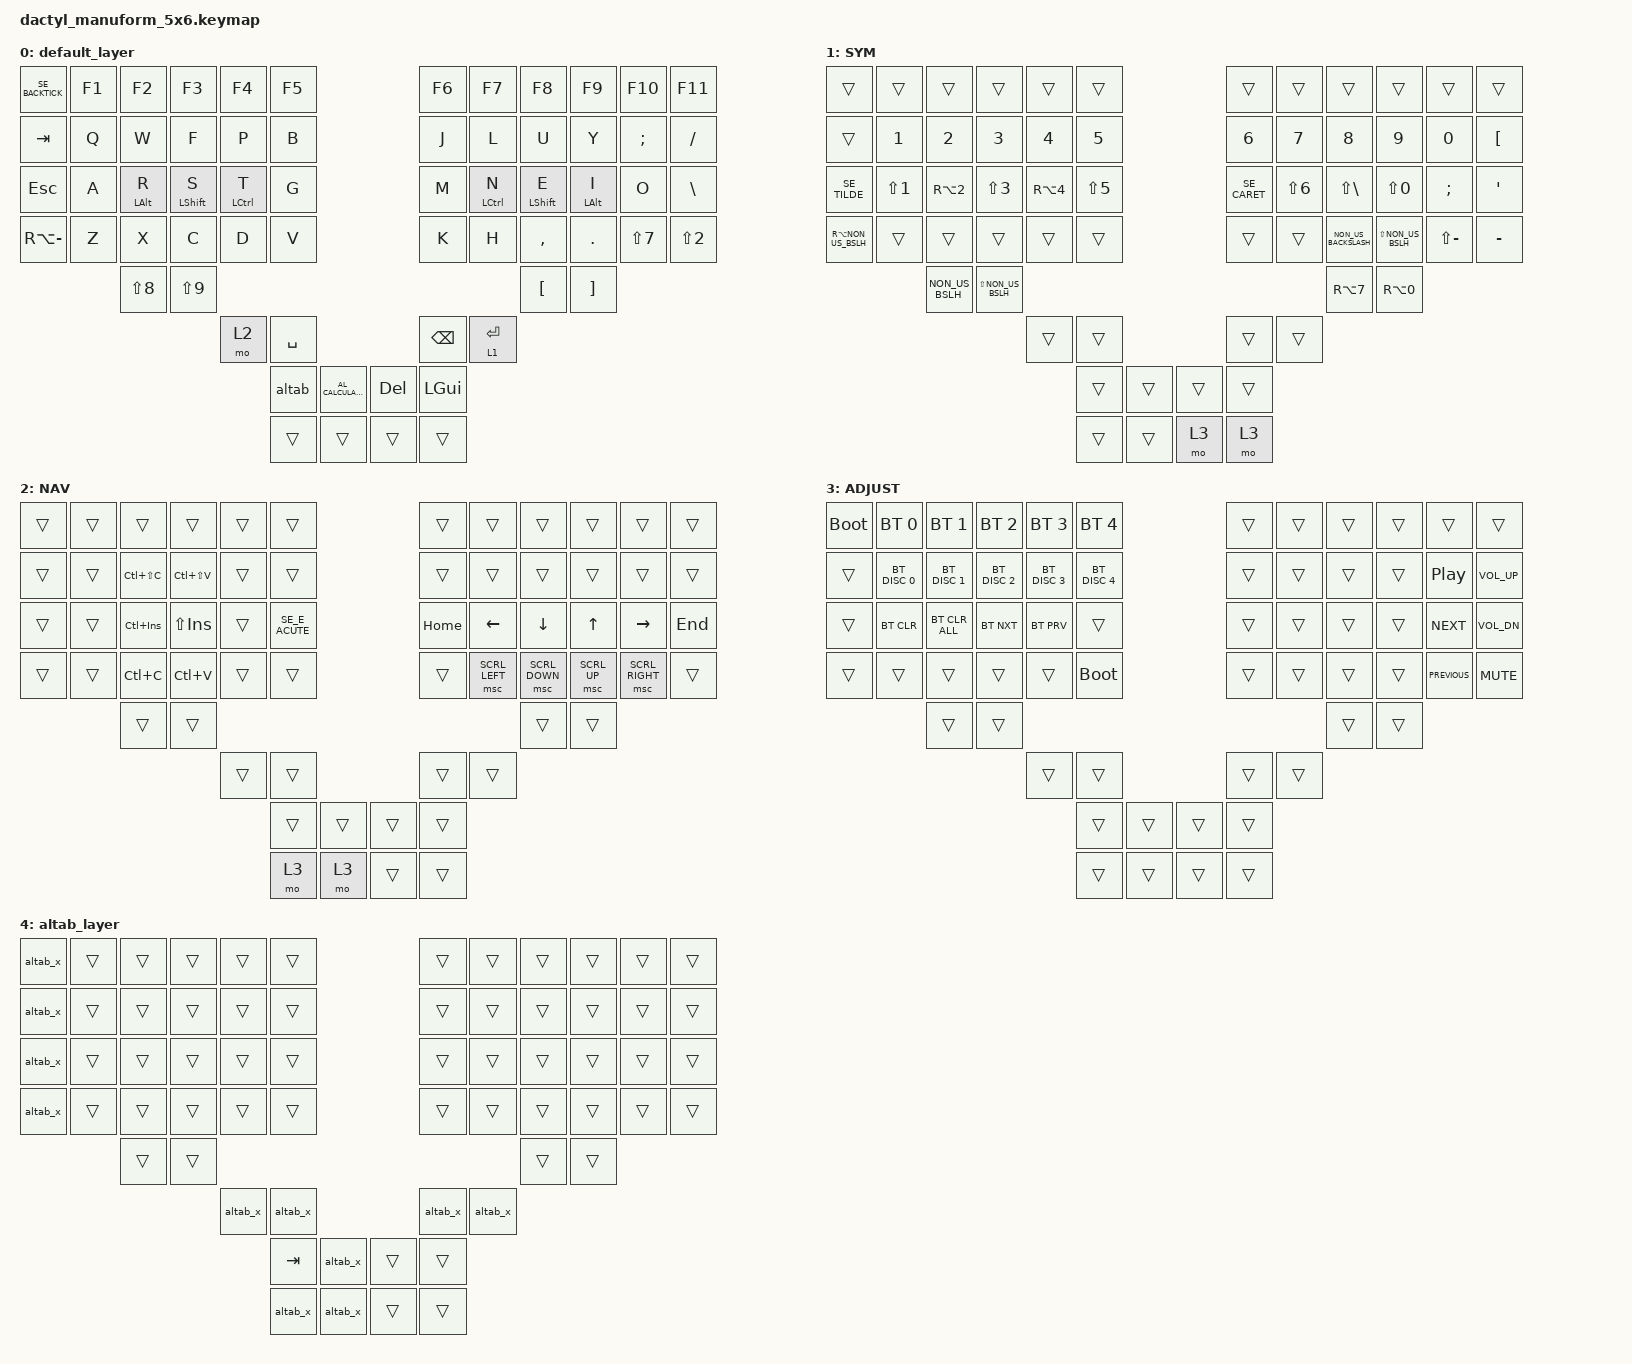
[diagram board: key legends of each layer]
// https://zmk.dev/docs/keymaps/behaviors/mouse-emulation#mouse-emulation-defines

#define ZMK_POINTING_DEFAULT_MOVE_VAL 1500  // default: 600
#define ZMK_POINTING_DEFAULT_SCRL_VAL 20    // default: 10

#include <behaviors.dtsi>
#include <dt-bindings/zmk/bt.h>
#include <dt-bindings/zmk/keys.h>
#include <dt-bindings/zmk/pointing.h>

#define DEFAULT 0
#define LWR 1
#define RSE 2
#define ADJ 3
#define ALTAB  4

/ {
    behaviors {
        hml: home_row_mod_left {
            compatible = "zmk,behavior-hold-tap";
            #binding-cells = <2>;
            flavor = "tap-preferred";
            tapping-term-ms = <150>;
            quick-tap-ms = <200>;
            bindings = <&kp>, <&kp>;

            hold-trigger-key-positions = <31 32 33 34>; // List of keys on the right side of the keyboard
        };

        hmr: home_row_mod_right {
            compatible = "zmk,behavior-hold-tap";
            #binding-cells = <2>;
            flavor = "tap-preferred";
            tapping-term-ms = <150>;
            quick-tap-ms = <200>;
            bindings = <&kp>, <&kp>;

            hold-trigger-key-positions = <26 27 28 25>; // List of keys on the left side of the keyboard
        };

        altab: alt_tab_enter {
            label = "alt_tab_enter";
            compatible = "zmk,behavior-macro";
            #binding-cells = <0>;
            wait-ms = <10>;
            tap-ms = <20>;
            bindings =
                <&macro_press>,
                <&kp LCTRL>,
                <&macro_tap>,
                <&kp TAB &to 0>;
        };

        altab_x: alt_tab_leave {
            label = "alt_tab_leave";
            compatible = "zmk,behavior-macro";
            #binding-cells = <0>;
            wait-ms = <10>;
            tap-ms = <20>;
            bindings = <&macro_release>, <&kp LCTRL>, <&macro_tap>, <&to 0>;
        };

        SE_CARET: SE_CARET {
            compatible = "zmk,behavior-macro";
            #binding-cells = <0>;
            bindings = <&kp LS(RIGHT_BRACKET) &kp SPACE>;
            label = "SE_CARET";
        };

        SE_TILDE: SE_TILDE {
            compatible = "zmk,behavior-macro";
            #binding-cells = <0>;
            bindings = <&kp RA(RIGHT_BRACKET) &kp SPACE>;
            label = "SE_TILDE";
        };

        SE_E_ACUTE: SE_E_ACUTE {
            compatible = "zmk,behavior-macro";
            #binding-cells = <0>;
            bindings = <&kp EQUAL &kp E>;
            label = "SE_E_ACUTE";
        };

        SE_BACKTICK: SE_BACKTICK {
            compatible = "zmk,behavior-macro";
            #binding-cells = <0>;
            bindings = <&kp LS(EQUAL) &kp SPACE>;
            label = "SE_BACKTICK";
        };
    };

    combos {
        compatible = "zmk,combos";

        combo_backspace {
            bindings = <&kp LC(BACKSPACE)>;
            key-positions = <31 54>;
        };
    };

    macros {
    };

    keymap {
        compatible = "zmk,keymap";

        default_layer {
            bindings = <
&SE_BACKTICK   &kp F1  &kp F2           &kp F3             &kp F4        &kp F5                                   &kp F6         &kp F7        &kp F8             &kp F9             &kp F10        &kp F11
&kp TAB        &kp Q   &kp W            &kp F              &kp P         &kp B                                    &kp J          &kp L         &kp U              &kp Y              &kp SEMICOLON  &kp SLASH
&kp ESCAPE     &kp A   &hml LEFT_ALT R  &hml LEFT_SHIFT S  &hml LCTRL T  &kp G                                    &kp M          &hmr LCTRL N  &hmr LEFT_SHIFT E  &hmr LALT I        &kp O          &kp BACKSLASH
&kp RA(MINUS)  &kp Z   &kp X            &kp C              &kp D         &kp V                                    &kp K          &kp H         &kp COMMA          &kp DOT            &kp LS(N7)     &kp LS(N2)
                       &kp LS(N8)       &kp LS(N9)                                                                                             &kp LEFT_BRACKET   &kp RIGHT_BRACKET
                                                           &mo 2         &kp SPACE                                &kp BACKSPACE  &lt 1 ENTER
                                                                         &altab     &kp C_AL_CALCULATOR  &kp DEL  &kp LGUI
                                                                         &trans     &trans               &trans   &trans
            >;
        };

        SYM {
            bindings = <
&trans               &trans      &trans           &trans               &trans      &trans                      &trans     &trans      &trans                &trans               &trans         &trans
&trans               &kp N1      &kp N2           &kp N3               &kp N4      &kp N5                      &kp N6     &kp N7      &kp N8                &kp N9               &kp N0         &kp LEFT_BRACKET
&SE_TILDE            &kp LS(N1)  &kp RA(N2)       &kp LS(N3)           &kp RA(N4)  &kp LS(N5)                  &SE_CARET  &kp LS(N6)  &kp LS(BACKSLASH)     &kp LS(N0)           &kp SEMICOLON  &kp SQT
&kp RA(NON_US_BSLH)  &trans      &trans           &trans               &trans      &trans                      &trans     &trans      &kp NON_US_BACKSLASH  &kp LS(NON_US_BSLH)  &kp LS(MINUS)  &kp MINUS
                                 &kp NON_US_BSLH  &kp LS(NON_US_BSLH)                                                                 &kp RA(N7)            &kp RA(N0)
                                                                       &trans      &trans                      &trans     &trans
                                                                                   &trans      &trans  &trans  &trans
                                                                                   &trans      &trans  &mo 3   &mo 3
            >;
        };

        NAV {
            bindings = <
&trans  &trans  &trans         &trans         &trans  &trans                       &trans    &trans          &trans          &trans        &trans           &trans
&trans  &trans  &kp LC(LS(C))  &kp LC(LS(V))  &trans  &trans                       &trans    &trans          &trans          &trans        &trans           &trans
&trans  &trans  &kp LC(INS)    &kp LS(INS)    &trans  &SE_E_ACUTE                  &kp HOME  &kp LEFT        &kp DOWN        &kp UP        &kp RIGHT        &kp END
&trans  &trans  &kp LC(C)      &kp LC(V)      &trans  &trans                       &trans    &msc SCRL_LEFT  &msc SCRL_DOWN  &msc SCRL_UP  &msc SCRL_RIGHT  &trans
                &trans         &trans                                                                        &trans          &trans
                                              &trans  &trans                       &trans    &trans
                                                      &trans       &trans  &trans  &trans
                                                      &mo 3        &mo 3   &trans  &trans
            >;
        };

        ADJUST {
            bindings = <
&bootloader  &bt BT_SEL 0   &bt BT_SEL 1    &bt BT_SEL 2   &bt BT_SEL 3   &bt BT_SEL 4                   &trans  &trans  &trans  &trans  &trans            &trans
&trans       &bt BT_DISC 0  &bt BT_DISC 1   &bt BT_DISC 2  &bt BT_DISC 3  &bt BT_DISC 4                  &trans  &trans  &trans  &trans  &kp C_PLAY_PAUSE  &kp K_VOL_UP
&trans       &bt BT_CLR     &bt BT_CLR_ALL  &bt BT_NXT     &bt BT_PRV     &trans                         &trans  &trans  &trans  &trans  &kp C_NEXT        &kp K_VOL_DN
&trans       &trans         &trans          &trans         &trans         &bootloader                    &trans  &trans  &trans  &trans  &kp C_PREVIOUS    &kp K_MUTE
                            &trans          &trans                                                                       &trans  &trans
                                                           &trans         &trans                         &trans  &trans
                                                                          &trans         &trans  &trans  &trans
                                                                          &trans         &trans  &trans  &trans
            >;
        };

        altab_layer {
            bindings = <
&altab_x  &trans  &trans  &trans  &trans    &trans                      &trans    &trans    &trans  &trans  &trans  &trans
&altab_x  &trans  &trans  &trans  &trans    &trans                      &trans    &trans    &trans  &trans  &trans  &trans
&altab_x  &trans  &trans  &trans  &trans    &trans                      &trans    &trans    &trans  &trans  &trans  &trans
&altab_x  &trans  &trans  &trans  &trans    &trans                      &trans    &trans    &trans  &trans  &trans  &trans
                  &trans  &trans                                                            &trans  &trans
                                  &altab_x  &altab_x                    &altab_x  &altab_x
                                            &kp TAB   &altab_x  &trans  &trans
                                            &altab_x  &altab_x  &trans  &trans
            >;
        };
    };
};
